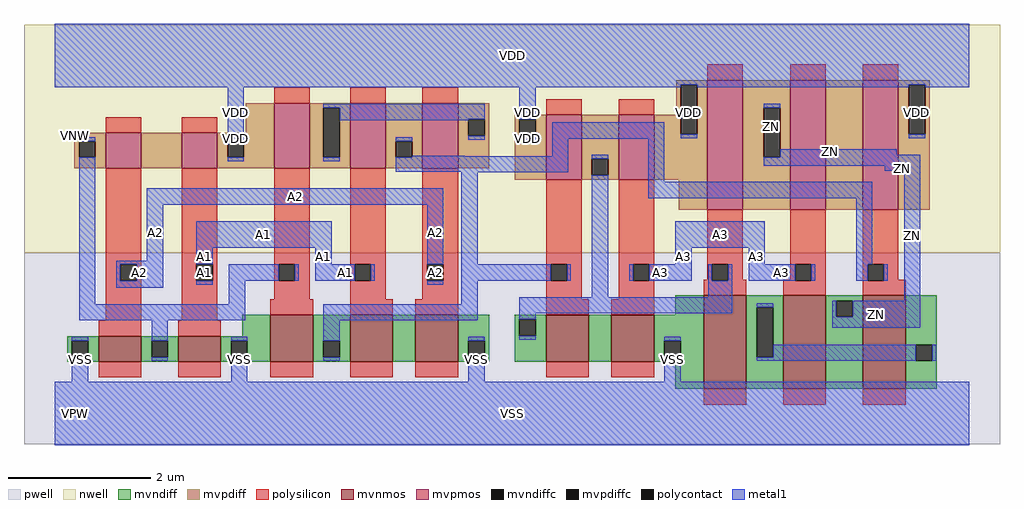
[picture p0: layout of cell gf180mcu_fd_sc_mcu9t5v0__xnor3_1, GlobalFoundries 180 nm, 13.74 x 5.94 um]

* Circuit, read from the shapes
.subckt gf180mcu_fd_sc_mcu9t5v0__xnor3_1 A1 A2 A3 ZN VDD VNW VPW VSS
XM1 n1 A2 VSS VPW nfet_06v0 w=0.36u l=0.6u
XM2 VSS A1 n1 VPW nfet_06v0 w=0.36u l=0.6u
XM3 n2 n1 VSS VPW nfet_06v0 w=0.66u l=0.6u
XM4 n3 A1 n2 VPW nfet_06v0 w=0.66u l=0.6u
XM5 VSS A2 n3 VPW nfet_06v0 w=0.66u l=0.6u
XM6 n4 n2 n5 VPW nfet_06v0 w=0.66u l=0.6u
XM7 VSS A3 n4 VPW nfet_06v0 w=0.66u l=0.6u
XM8 n6 n5 VSS VPW nfet_06v0 w=1.32u l=0.6u
XM9 ZN A3 n6 VPW nfet_06v0 w=1.32u l=0.6u
XM10 n6 n2 ZN VPW nfet_06v0 w=1.32u l=0.6u
XM11 n7 A2 n1 VNW pfet_06v0 w=0.495u l=0.5u
XM12 VDD A1 n7 VNW pfet_06v0 w=0.495u l=0.5u
XM13 n8 n1 VDD VNW pfet_06v0 w=0.915u l=0.5u
XM14 n2 A1 n8 VNW pfet_06v0 w=0.915u l=0.5u
XM15 n8 A2 n2 VNW pfet_06v0 w=0.915u l=0.5u
XM16 n5 n2 VDD VNW pfet_06v0 w=0.915u l=0.5u
XM17 VDD A3 n5 VNW pfet_06v0 w=0.915u l=0.5u
XM18 ZN n5 VDD VNW pfet_06v0 w=1.83u l=0.5u
XM19 n9 A3 ZN VNW pfet_06v0 w=1.83u l=0.5u
XM20 VDD n2 n9 VNW pfet_06v0 w=1.83u l=0.5u
.ends

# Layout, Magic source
magic
tech gf180mcuD
magscale 1 10
<< nwell >>
rect -86 453 2662 1094
<< pwell >>
rect -86 -86 2662 453
<< mvnmos >>
rect 124 146 244 218
rect 348 146 468 218
rect 608 146 728 278
rect 832 146 952 278
rect 1016 146 1136 278
rect 1384 146 1504 278
rect 1568 146 1688 278
rect 1828 69 1948 333
rect 2052 69 2172 333
rect 2276 69 2396 333
<< mvpmos >>
rect 144 691 244 790
rect 358 691 458 790
rect 618 691 718 874
rect 832 691 932 874
rect 1036 691 1136 874
rect 1384 658 1484 841
rect 1588 658 1688 841
rect 1838 573 1938 939
rect 2072 573 2172 939
rect 2276 573 2376 939
<< mvndiff >>
rect 1748 278 1828 333
rect 528 218 608 278
rect 36 205 124 218
rect 36 159 49 205
rect 95 159 124 205
rect 36 146 124 159
rect 244 205 348 218
rect 244 159 273 205
rect 319 159 348 205
rect 244 146 348 159
rect 468 205 608 218
rect 468 159 497 205
rect 543 159 608 205
rect 468 146 608 159
rect 728 205 832 278
rect 728 159 757 205
rect 803 159 832 205
rect 728 146 832 159
rect 952 146 1016 278
rect 1136 205 1224 278
rect 1136 159 1165 205
rect 1211 159 1224 205
rect 1136 146 1224 159
rect 1296 265 1384 278
rect 1296 219 1309 265
rect 1355 219 1384 265
rect 1296 146 1384 219
rect 1504 146 1568 278
rect 1688 205 1828 278
rect 1688 159 1717 205
rect 1763 159 1828 205
rect 1688 146 1828 159
rect 1748 69 1828 146
rect 1948 299 2052 333
rect 1948 159 1977 299
rect 2023 159 2052 299
rect 1948 69 2052 159
rect 2172 318 2276 333
rect 2172 272 2201 318
rect 2247 272 2276 318
rect 2172 69 2276 272
rect 2396 194 2484 333
rect 2396 148 2425 194
rect 2471 148 2484 194
rect 2396 69 2484 148
<< mvpdiff >>
rect 1750 926 1838 939
rect 538 790 618 874
rect 56 767 144 790
rect 56 721 69 767
rect 115 721 144 767
rect 56 691 144 721
rect 244 691 358 790
rect 458 767 618 790
rect 458 721 487 767
rect 533 721 618 767
rect 458 691 618 721
rect 718 861 832 874
rect 718 721 757 861
rect 803 721 832 861
rect 718 691 832 721
rect 932 767 1036 874
rect 932 721 961 767
rect 1007 721 1036 767
rect 932 691 1036 721
rect 1136 828 1224 874
rect 1750 841 1763 926
rect 1136 782 1165 828
rect 1211 782 1224 828
rect 1136 691 1224 782
rect 1296 828 1384 841
rect 1296 782 1309 828
rect 1355 782 1384 828
rect 1296 658 1384 782
rect 1484 717 1588 841
rect 1484 671 1513 717
rect 1559 671 1588 717
rect 1484 658 1588 671
rect 1688 786 1763 841
rect 1809 786 1838 926
rect 1688 658 1838 786
rect 1758 573 1838 658
rect 1938 861 2072 939
rect 1938 721 1997 861
rect 2043 721 2072 861
rect 1938 573 2072 721
rect 2172 573 2276 939
rect 2376 926 2464 939
rect 2376 786 2405 926
rect 2451 786 2464 926
rect 2376 573 2464 786
<< mvndiffc >>
rect 49 159 95 205
rect 273 159 319 205
rect 497 159 543 205
rect 757 159 803 205
rect 1165 159 1211 205
rect 1309 219 1355 265
rect 1717 159 1763 205
rect 1977 159 2023 299
rect 2201 272 2247 318
rect 2425 148 2471 194
<< mvpdiffc >>
rect 69 721 115 767
rect 487 721 533 767
rect 757 721 803 861
rect 961 721 1007 767
rect 1165 782 1211 828
rect 1309 782 1355 828
rect 1513 671 1559 717
rect 1763 786 1809 926
rect 1997 721 2043 861
rect 2405 786 2451 926
<< polysilicon >>
rect 1838 939 1938 983
rect 2072 939 2172 983
rect 2276 939 2376 983
rect 618 874 718 918
rect 832 874 932 918
rect 1036 874 1136 918
rect 144 790 244 834
rect 358 790 458 834
rect 1384 841 1484 885
rect 1588 841 1688 885
rect 144 420 244 691
rect 144 374 185 420
rect 231 374 244 420
rect 144 262 244 374
rect 358 420 458 691
rect 358 374 399 420
rect 445 374 458 420
rect 358 262 458 374
rect 618 420 718 691
rect 618 374 631 420
rect 677 374 718 420
rect 618 322 718 374
rect 832 420 932 691
rect 832 374 845 420
rect 891 374 932 420
rect 832 322 932 374
rect 1036 420 1136 691
rect 1036 374 1049 420
rect 1095 374 1136 420
rect 1036 322 1136 374
rect 608 278 728 322
rect 832 278 952 322
rect 1016 278 1136 322
rect 1384 420 1484 658
rect 1384 374 1397 420
rect 1443 374 1484 420
rect 1384 322 1484 374
rect 1588 420 1688 658
rect 1588 374 1629 420
rect 1675 374 1688 420
rect 1838 420 1938 573
rect 1838 377 1851 420
rect 1588 322 1688 374
rect 1828 374 1851 377
rect 1897 377 1938 420
rect 2072 420 2172 573
rect 2072 377 2085 420
rect 1897 374 1948 377
rect 1828 333 1948 374
rect 2052 374 2085 377
rect 2131 374 2172 420
rect 2052 333 2172 374
rect 2276 420 2376 573
rect 2276 374 2289 420
rect 2335 377 2376 420
rect 2335 374 2396 377
rect 2276 333 2396 374
rect 1384 278 1504 322
rect 1568 278 1688 322
rect 124 218 244 262
rect 348 218 468 262
rect 124 102 244 146
rect 348 102 468 146
rect 608 102 728 146
rect 832 102 952 146
rect 1016 102 1136 146
rect 1384 102 1504 146
rect 1568 102 1688 146
rect 1828 25 1948 69
rect 2052 25 2172 69
rect 2276 25 2396 69
<< polycontact >>
rect 185 374 231 420
rect 399 374 445 420
rect 631 374 677 420
rect 845 374 891 420
rect 1049 374 1095 420
rect 1397 374 1443 420
rect 1629 374 1675 420
rect 1851 374 1897 420
rect 2085 374 2131 420
rect 2289 374 2335 420
<< metal1 >>
rect 0 926 2576 1098
rect 0 918 1763 926
rect 69 767 115 778
rect 69 308 115 721
rect 487 767 533 918
rect 487 710 533 721
rect 757 861 1211 872
rect 803 828 1211 861
rect 803 826 1165 828
rect 757 710 803 721
rect 961 767 1007 778
rect 1165 771 1211 782
rect 1309 828 1355 918
rect 1309 771 1355 782
rect 1401 774 1717 820
rect 1809 918 2405 926
rect 1763 775 1809 786
rect 1997 861 2043 872
rect 1007 725 1155 726
rect 1401 725 1447 774
rect 1007 721 1447 725
rect 961 680 1447 721
rect 1145 679 1447 680
rect 1513 717 1559 728
rect 260 588 1095 634
rect 260 430 306 588
rect 174 420 306 430
rect 174 374 185 420
rect 231 374 306 420
rect 174 354 306 374
rect 399 466 780 542
rect 399 420 445 466
rect 734 420 780 466
rect 1049 420 1095 588
rect 399 363 445 374
rect 491 374 631 420
rect 677 374 688 420
rect 734 374 845 420
rect 891 374 902 420
rect 491 308 537 374
rect 1049 363 1095 374
rect 1145 420 1191 679
rect 1145 374 1397 420
rect 1443 374 1454 420
rect 1145 308 1191 374
rect 1513 328 1559 671
rect 1671 652 1717 774
rect 2451 918 2576 926
rect 2405 775 2451 786
rect 2043 729 2371 744
rect 2043 721 2438 729
rect 1997 698 2438 721
rect 2337 683 2438 698
rect 1671 606 2303 652
rect 1748 466 2000 542
rect 1748 420 1794 466
rect 1954 420 2000 466
rect 2257 420 2303 606
rect 1618 374 1629 420
rect 1675 374 1794 420
rect 1840 374 1851 420
rect 1897 374 1908 420
rect 1954 374 2085 420
rect 2131 374 2142 420
rect 2257 374 2289 420
rect 2335 374 2346 420
rect 1840 328 1908 374
rect 69 262 537 308
rect 757 262 1191 308
rect 1309 282 1908 328
rect 2392 318 2438 683
rect 1977 299 2023 310
rect 1309 265 1355 282
rect 49 205 95 216
rect 49 90 95 159
rect 273 205 319 262
rect 273 148 319 159
rect 497 205 543 216
rect 497 90 543 159
rect 757 205 803 262
rect 757 148 803 159
rect 1165 205 1211 216
rect 1309 208 1355 219
rect 1165 90 1211 159
rect 1717 205 1763 216
rect 1717 90 1763 159
rect 2190 272 2201 318
rect 2247 272 2438 318
rect 2190 242 2438 272
rect 2023 159 2425 194
rect 1977 148 2425 159
rect 2471 148 2482 194
rect 0 -90 2576 90
<< labels >>
flabel metal1 s 399 466 780 542 0 FreeSans 200 0 0 0 A1
port 1 nsew default input
flabel metal1 s 260 588 1095 634 0 FreeSans 200 0 0 0 A2
port 2 nsew default input
flabel metal1 s 1748 466 2000 542 0 FreeSans 200 0 0 0 A3
port 3 nsew default input
flabel metal1 s 0 918 2576 1098 0 FreeSans 200 0 0 0 VDD
port 5 nsew power bidirectional abutment
flabel metal1 s 1717 90 1763 216 0 FreeSans 200 0 0 0 VSS
port 8 nsew ground bidirectional abutment
flabel metal1 s 1997 744 2043 872 0 FreeSans 200 0 0 0 ZN
port 4 nsew default output
flabel nwell s 10 734 110 834 0 FreeSans 400 0 0 0 VNW
port 6 nsew power bidirectional
flabel pwell s 10 -50 110 50 0 FreeSans 400 0 0 0 VPW
port 7 nsew ground bidirectional
rlabel metal1 s 734 420 780 466 1 A1
port 1 nsew default input
rlabel metal1 s 399 420 445 466 1 A1
port 1 nsew default input
rlabel metal1 s 734 374 902 420 1 A1
port 1 nsew default input
rlabel metal1 s 399 374 445 420 1 A1
port 1 nsew default input
rlabel metal1 s 399 363 445 374 1 A1
port 1 nsew default input
rlabel metal1 s 1049 430 1095 588 1 A2
port 2 nsew default input
rlabel metal1 s 260 430 306 588 1 A2
port 2 nsew default input
rlabel metal1 s 1049 363 1095 430 1 A2
port 2 nsew default input
rlabel metal1 s 174 363 306 430 1 A2
port 2 nsew default input
rlabel metal1 s 174 354 306 363 1 A2
port 2 nsew default input
rlabel metal1 s 1954 420 2000 466 1 A3
port 3 nsew default input
rlabel metal1 s 1748 420 1794 466 1 A3
port 3 nsew default input
rlabel metal1 s 1954 374 2142 420 1 A3
port 3 nsew default input
rlabel metal1 s 1618 374 1794 420 1 A3
port 3 nsew default input
rlabel metal1 s 1997 729 2371 744 1 ZN
port 4 nsew default output
rlabel metal1 s 1997 698 2438 729 1 ZN
port 4 nsew default output
rlabel metal1 s 2337 683 2438 698 1 ZN
port 4 nsew default output
rlabel metal1 s 2392 318 2438 683 1 ZN
port 4 nsew default output
rlabel metal1 s 2190 242 2438 318 1 ZN
port 4 nsew default output
rlabel metal1 s 2405 775 2451 918 1 VDD
port 5 nsew power bidirectional abutment
rlabel metal1 s 1763 775 1809 918 1 VDD
port 5 nsew power bidirectional abutment
rlabel metal1 s 1309 775 1355 918 1 VDD
port 5 nsew power bidirectional abutment
rlabel metal1 s 487 775 533 918 1 VDD
port 5 nsew power bidirectional abutment
rlabel metal1 s 1309 771 1355 775 1 VDD
port 5 nsew power bidirectional abutment
rlabel metal1 s 487 771 533 775 1 VDD
port 5 nsew power bidirectional abutment
rlabel metal1 s 487 710 533 771 1 VDD
port 5 nsew power bidirectional abutment
rlabel metal1 s 1165 90 1211 216 1 VSS
port 8 nsew ground bidirectional abutment
rlabel metal1 s 497 90 543 216 1 VSS
port 8 nsew ground bidirectional abutment
rlabel metal1 s 49 90 95 216 1 VSS
port 8 nsew ground bidirectional abutment
rlabel metal1 s 0 -90 2576 90 1 VSS
port 8 nsew ground bidirectional abutment
<< properties >>
string FIXED_BBOX 0 0 2576 1008
string GDS_END 467310
string GDS_FILE $PDKPATH/libs.ref/gf180mcu_fd_sc_mcu9t5v0/gds/gf180mcu_fd_sc_mcu9t5v0.gds
string GDS_START 460972
string LEFclass core
string LEFsite GF018hv5v_green_sc9
string LEFsymmetry X Y
<< end >>
